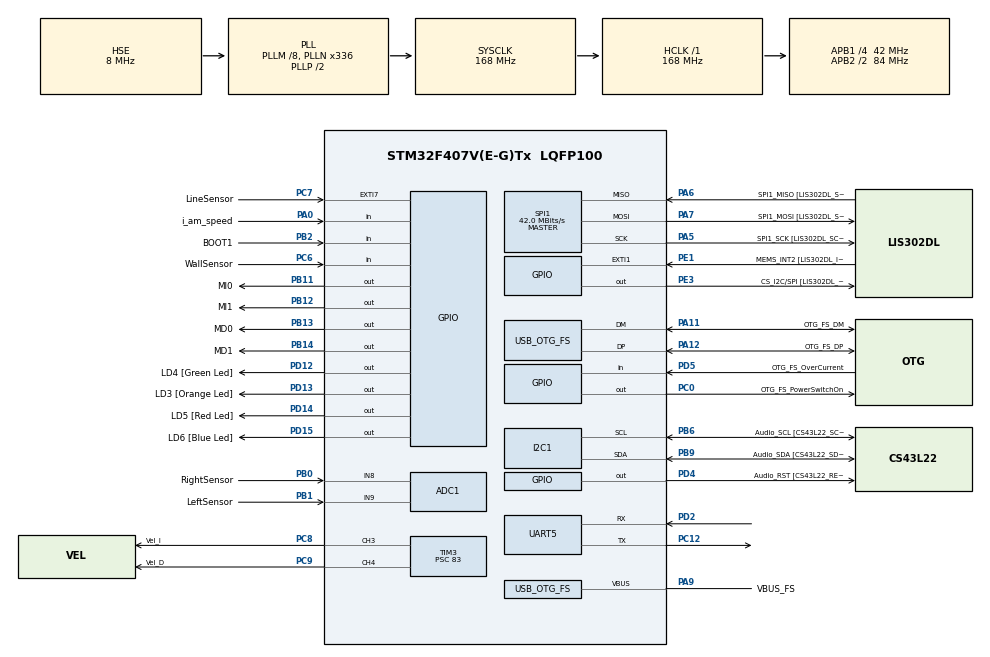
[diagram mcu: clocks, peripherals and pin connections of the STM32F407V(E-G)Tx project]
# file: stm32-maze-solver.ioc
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ADC1.Channel-0\#ChannelRegularConversion=ADC_CHANNEL_8
ADC1.Channel-1\#ChannelRegularConversion=ADC_CHANNEL_9
ADC1.ClockPrescaler=ADC_CLOCK_SYNC_PCLK_DIV8
ADC1.ContinuousConvMode=ENABLE
ADC1.DMAContinuousRequests=ENABLE
ADC1.EOCSelection=ADC_EOC_SEQ_CONV
ADC1.InjNumberOfConversion=0
ADC1.NbrOfConversion=2
ADC1.NbrOfConversionFlag=1
ADC1.Rank-0\#ChannelRegularConversion=1
ADC1.Rank-1\#ChannelRegularConversion=2
ADC1.SamplingTime-0\#ChannelRegularConversion=ADC_SAMPLETIME_112CYCLES
ADC1.SamplingTime-1\#ChannelRegularConversion=ADC_SAMPLETIME_112CYCLES
ADC1.ScanConvMode=ENABLE
ADC1.master=1
Dma.ADC1.0.Direction=DMA_PERIPH_TO_MEMORY
Dma.ADC1.0.FIFOMode=DMA_FIFOMODE_DISABLE
Dma.ADC1.0.Instance=DMA2_Stream0
Dma.ADC1.0.MemDataAlignment=DMA_MDATAALIGN_HALFWORD
Dma.ADC1.0.MemInc=DMA_MINC_ENABLE
Dma.ADC1.0.Mode=DMA_CIRCULAR
Dma.ADC1.0.PeriphDataAlignment=DMA_PDATAALIGN_HALFWORD
Dma.ADC1.0.PeriphInc=DMA_PINC_DISABLE
Dma.ADC1.0.Priority=DMA_PRIORITY_LOW
Dma.Request0=ADC1
Mcu.Family=STM32F4
Mcu.Name=STM32F407V(E-G)Tx
Mcu.Package=LQFP100
NVIC.DMA2_Stream0_IRQn=true\:0\:0\:false\:false\:true\:false\:true\:true
NVIC.EXTI9_5_IRQn=true\:0\:0\:false\:false\:true\:true\:true\:true
NVIC.OTG_FS_IRQn=true\:0\:0\:false\:false\:true\:true\:true\:true
NVIC.PriorityGroup=NVIC_PRIORITYGROUP_0
NVIC.UART5_IRQn=true\:0\:0\:false\:false\:true\:true\:true\:true
PA0-WKUP.GPIO_Label=i_am_speed
PA0-WKUP.GPIO_PuPd=GPIO_NOPULL
PA0-WKUP.Signal=GPIO_Input
PA10.GPIO_Label=OTG_FS_ID
PA10.GPIO_Mode=GPIO_MODE_AF_PP
PA10.GPIO_PuPd=GPIO_NOPULL
PA10.GPIO_Speed=GPIO_SPEED_FREQ_LOW
PA10.Signal=USB_OTG_FS_ID
PA11.GPIO_Label=OTG_FS_DM
PA11.GPIO_Mode=GPIO_MODE_AF_PP
PA11.GPIO_PuPd=GPIO_NOPULL
PA11.GPIO_Speed=GPIO_SPEED_FREQ_LOW
PA11.Mode=Host_Only
PA11.Signal=USB_OTG_FS_DM
PA12.GPIO_Label=OTG_FS_DP
PA12.GPIO_Mode=GPIO_MODE_AF_PP
PA12.GPIO_PuPd=GPIO_NOPULL
PA12.GPIO_Speed=GPIO_SPEED_FREQ_LOW
PA12.Mode=Host_Only
PA12.Signal=USB_OTG_FS_DP
PA13.GPIO_Label=SWDIO
PA13.Mode=Serial_Wire
PA13.Signal=SYS_JTMS-SWDIO
PA14.GPIO_Label=SWCLK
PA14.Mode=Serial_Wire
PA14.Signal=SYS_JTCK-SWCLK
PA4.GPIO_Label=I2S3_WS [CS43L22_LRCK]
PA4.GPIO_Mode=GPIO_MODE_AF_PP
PA4.GPIO_PuPd=GPIO_NOPULL
PA4.GPIO_Speed=GPIO_SPEED_FREQ_LOW
PA4.Signal=I2S3_WS
PA5.GPIO_Label=SPI1_SCK [LIS302DL_SCL/SPC]
PA5.GPIO_Mode=GPIO_MODE_AF_PP
PA5.GPIO_PuPd=GPIO_NOPULL
PA5.GPIO_Speed=GPIO_SPEED_FREQ_LOW
PA5.Mode=Full_Duplex_Master
PA5.Signal=SPI1_SCK
PA6.GPIO_Label=SPI1_MISO [LIS302DL_SDO]
PA6.GPIO_Mode=GPIO_MODE_AF_PP
PA6.GPIO_PuPd=GPIO_NOPULL
PA6.GPIO_Speed=GPIO_SPEED_FREQ_LOW
PA6.Mode=Full_Duplex_Master
PA6.Signal=SPI1_MISO
PA7.GPIO_Label=SPI1_MOSI [LIS302DL_SDA/SDI/SDO]
PA7.GPIO_Mode=GPIO_MODE_AF_PP
PA7.GPIO_PuPd=GPIO_NOPULL
PA7.GPIO_Speed=GPIO_SPEED_FREQ_LOW
PA7.Mode=Full_Duplex_Master
PA7.Signal=SPI1_MOSI
PA9.GPIO_Label=VBUS_FS
PA9.GPIO_Mode=GPIO_MODE_INPUT
PA9.GPIO_PuPd=GPIO_NOPULL
PA9.Mode=Activate_VBUS
PA9.Signal=USB_OTG_FS_VBUS
PB0.GPIO_Label=RightSensor
PB0.Signal=ADCx_IN8
PB1.GPIO_Label=LeftSensor
PB1.Signal=ADCx_IN9
PB10.GPIO_Label=CLK_IN [MP45DT02_CLK]
PB10.GPIO_Mode=GPIO_MODE_AF_PP
PB10.GPIO_PuPd=GPIO_NOPULL
PB10.GPIO_Speed=GPIO_SPEED_FREQ_LOW
PB10.Signal=I2S2_CK
PB11.GPIO_Label=MI0
PB11.Signal=GPIO_Output
PB12.GPIO_Label=MI1
PB12.Signal=GPIO_Output
PB13.GPIO_Label=MD0
PB13.Signal=GPIO_Output
PB14.GPIO_Label=MD1
PB14.Signal=GPIO_Output
PB2.GPIO_Label=BOOT1
PB2.GPIO_Mode=GPIO_MODE_INPUT
PB2.GPIO_PuPd=GPIO_NOPULL
PB2.Signal=GPIO_Input
PB3.GPIO_Label=SWO
PB3.Signal=SYS_JTDO-SWO
PB6.GPIO_Label=Audio_SCL [CS43L22_SCL]
PB6.GPIO_Mode=GPIO_MODE_AF_OD
PB6.GPIO_Pu=GPIO_PULLUP
PB6.GPIO_PuPd=GPIO_NOPULL
PB6.GPIO_Speed=GPIO_SPEED_FREQ_LOW
PB6.Mode=I2C
PB6.Signal=I2C1_SCL
PB9.GPIO_Label=Audio_SDA [CS43L22_SDA]
PB9.GPIO_Mode=GPIO_MODE_AF_OD
PB9.GPIO_Pu=GPIO_PULLUP
PB9.GPIO_PuPd=GPIO_NOPULL
PB9.GPIO_Speed=GPIO_SPEED_FREQ_LOW
PB9.Mode=I2C
PB9.Signal=I2C1_SDA
PC0.GPIO_Label=OTG_FS_PowerSwitchOn
PC0.GPIO_PuPd=GPIO_NOPULL
PC0.GPIO_Speed=GPIO_SPEED_FREQ_LOW
PC0.PinState=GPIO_PIN_SET
PC0.Signal=GPIO_Output
PC10.GPIO_Label=I2S3_SCK [CS43L22_SCLK]
PC10.GPIO_Mode=GPIO_MODE_AF_PP
PC10.GPIO_PuPd=GPIO_NOPULL
PC10.GPIO_Speed=GPIO_SPEED_FREQ_LOW
PC10.Signal=I2S3_CK
PC12.Mode=Asynchronous
PC12.Signal=UART5_TX
PC14-OSC32_IN.GPIO_Label=PC14-OSC32_IN
PC14-OSC32_IN.Mode=LSE-External-Oscillator
PC14-OSC32_IN.Signal=RCC_OSC32_IN
PC15-OSC32_OUT.GPIO_Label=PC15-OSC32_OUT
PC15-OSC32_OUT.Mode=LSE-External-Oscillator
PC15-OSC32_OUT.Signal=RCC_OSC32_OUT
PC3.GPIO_Label=PDM_OUT [MP45DT02_DOUT]
PC3.GPIO_Mode=GPIO_MODE_AF_PP
PC3.GPIO_PuPd=GPIO_NOPULL
PC3.GPIO_Speed=GPIO_SPEED_FREQ_LOW
PC3.Signal=I2S2_SD
PC6.GPIO_Label=WallSensor
PC6.Signal=GPIO_Input
PC7.GPIO_Label=LineSensor
PC7.GPIO_ModeDefaultEXTI=GPIO_MODE_IT_FALLING
PC7.Signal=GPXTI7
PC8.GPIO_Label=Vel_I
PC8.Signal=S_TIM3_CH3
PC9.GPIO_Label=Vel_D
PC9.Signal=S_TIM3_CH4
PD12.GPIO_Label=LD4 [Green Led]
PD12.GPIO_PuPd=GPIO_NOPULL
PD12.GPIO_Speed=GPIO_SPEED_FREQ_LOW
PD12.Signal=GPIO_Output
PD13.GPIO_Label=LD3 [Orange Led]
PD13.GPIO_PuPd=GPIO_NOPULL
PD13.GPIO_Speed=GPIO_SPEED_FREQ_LOW
PD13.Signal=GPIO_Output
PD14.GPIO_Label=LD5 [Red Led]
PD14.GPIO_PuPd=GPIO_NOPULL
PD14.GPIO_Speed=GPIO_SPEED_FREQ_LOW
PD14.Signal=GPIO_Output
PD15.GPIO_Label=LD6 [Blue Led]
PD15.GPIO_PuPd=GPIO_NOPULL
PD15.GPIO_Speed=GPIO_SPEED_FREQ_LOW
PD15.Signal=GPIO_Output
PD2.Mode=Asynchronous
PD2.Signal=UART5_RX
PD4.GPIO_Label=Audio_RST [CS43L22_RESET]
PD4.GPIO_PuPd=GPIO_NOPULL
PD4.GPIO_Speed=GPIO_SPEED_FREQ_LOW
PD4.Signal=GPIO_Output
PD5.GPIO_Label=OTG_FS_OverCurrent
PD5.GPIO_Mode=GPIO_MODE_INPUT
PD5.GPIO_PuPd=GPIO_NOPULL
PD5.Signal=GPIO_Input
PE1.GPIO_Label=MEMS_INT2 [LIS302DL_INT2]
PE1.GPIO_ModeDefaultEXTI=GPIO_MODE_EVT_RISING
PE1.GPIO_PuPd=GPIO_NOPULL
PE1.Signal=GPXTI1
PE3.GPIO_Label=CS_I2C/SPI [LIS302DL_CS_I2C/SPI]
PE3.GPIO_PuPd=GPIO_NOPULL
PE3.GPIO_Speed=GPIO_SPEED_FREQ_LOW
PE3.Signal=GPIO_Output
PH0-OSC_IN.GPIO_Label=PH0-OSC_IN
PH0-OSC_IN.Mode=HSE-External-Oscillator
PH0-OSC_IN.Signal=RCC_OSC_IN
PH1-OSC_OUT.GPIO_Label=PH1-OSC_OUT
PH1-OSC_OUT.Mode=HSE-External-Oscillator
PH1-OSC_OUT.Signal=RCC_OSC_OUT
ProjectManager.HeapSize=0x200
ProjectManager.StackSize=0x400
ProjectManager.TargetToolchain=STM32CubeIDE
RCC.48MHZClocksFreq_Value=48000000
RCC.AHBFreq_Value=168000000
RCC.APB1CLKDivider=RCC_HCLK_DIV4
RCC.APB1Freq_Value=42000000
RCC.APB1TimFreq_Value=84000000
RCC.APB2CLKDivider=RCC_HCLK_DIV2
RCC.APB2Freq_Value=84000000
RCC.APB2TimFreq_Value=168000000
RCC.CortexFreq_Value=168000000
RCC.HCLKFreq_Value=168000000
RCC.HSE_VALUE=8000000
RCC.HSI_VALUE=16000000
RCC.PLLM=8
RCC.PLLN=336
RCC.PLLQ=7
RCC.SYSCLKFreq_VALUE=168000000
RCC.SYSCLKSource=RCC_SYSCLKSOURCE_PLLCLK
RCC.VCOOutputFreq_Value=336000000
SH.ADCx_IN8.0=ADC1_IN8,IN8
SH.ADCx_IN9.0=ADC1_IN9,IN9
SH.S_TIM3_CH3.0=TIM3_CH3,PWM Generation3 CH3
SH.S_TIM3_CH4.0=TIM3_CH4,PWM Generation4 CH4
SPI1.BaudRatePrescaler-Full_Duplex_Master=SPI_BAUDRATEPRESCALER_2
SPI1.CalculateBaudRate=42.0 MBits/s
SPI1.CalculateBaudRate-Full_Duplex_Master=42.0 MBits/s
SPI1.Direction=SPI_DIRECTION_2LINES
SPI1.Mode=SPI_MODE_MASTER
SPI1.Mode-Full_Duplex_Master=SPI_MODE_MASTER
SPI1.VirtualType=VM_MASTER
TIM3.Channel-PWM\ Generation3\ CH3=TIM_CHANNEL_3
TIM3.Channel-PWM\ Generation4\ CH4=TIM_CHANNEL_4
TIM3.Period=999
TIM3.Prescaler=83
UART5.VirtualMode=Asynchronous
USB_HOST.BSP.number=1
USB_HOST.USBH_HandleTypeDef-CDC_FS=hUsbHostFS
USB_HOST.VirtualModeFS=Cdc
USB_HOST0.BSP.STBoard=false
USB_HOST0.BSP.api=Unknown
USB_HOST0.BSP.instance=PC0
USB_HOST0.BSP.ip=GPIO
USB_HOST0.BSP.mode=Output
USB_HOST0.BSP.name=Drive_VBUS_FS
USB_HOST0.BSP.solution=PC0
USB_OTG_FS.VirtualMode=Host_Only
USB_OTG_FS.phy_itface=HCD_PHY_EMBEDDED
VP_TIM3_VS_ClockSourceINT.Mode=Internal
VP_USB_HOST_VS_USB_HOST_CDC_FS.Mode=CDC_FS
board=STM32F407G-DISC1

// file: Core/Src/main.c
/* USER CODE BEGIN Header */
/**
 ******************************************************************************
 * @file           : main.c
 * @brief          : Main program body
 * @author demianmozo
 * @date 2025-06-07
 * Este archivo contiene la función main y la lógica principal del robot.
 *
 * @section hardware Hardware utilizado
 * - STM32F407VG Discovery Board
 * - Sensores IR para detección de líneas y muros
 * - Motores DC con control PWM
 * - Comunicación UART
 ******************************************************************************
 * @attention
 *
 * Copyright (c) 2025 STMicroelectronics.
 * All rights reserved.
 *
 * This software is licensed under terms that can be found in the LICENSE file
 * in the root directory of this software component.
 * If no LICENSE file comes with this software, it is provided AS-IS.
 *
 ******************************************************************************
 */
/* USER CODE END Header */
#include "main.h"
#include "usb_host.h"

/* USER CODE BEGIN Includes */
#include "antirebote.h"         ///< Funciones de antirebote para sensores
#include "control_motor.h"      ///< Control de motores y PWM
#include "laberinto.h"          ///< Representación y manejo del laberinto
#include "navegacion.h"         ///< Algoritmos de navegación Flood Fill
#include "control_linearecta.h" ///< Control PID para línea recta
#include <stdint.h>             ///< Tipos de datos enteros estándar
#include <stdbool.h>            ///< Tipo de dato booleano
#include "uart.h"               ///< Comunicación UART para debugging
#include <string.h>             ///< Funciones de manipulación de strings
#include <stdio.h>              ///< Funciones de entrada/salida estándar
/* USER CODE END Includes */

ADC_HandleTypeDef hadc1;
DMA_HandleTypeDef hdma_adc1;

I2C_HandleTypeDef hi2c1;

SPI_HandleTypeDef hspi1;

TIM_HandleTypeDef htim3;

UART_HandleTypeDef huart5;

/* USER CODE BEGIN PV */
/** @defgroup Main_Variables Variables globales principales
 * @brief Variables globales utilizadas en el programa principal
 * @{
 */

/** @brief Posición actual del robot */
uint8_t fila_actual = 4, columna_actual = 4; ///< Fila y columna inicial  del robot (4;4)

/** @brief Estado y orientación del robot */
brujula sentido_actual = norte; ///< Orientación inicial del robot
bool terminado = false;         ///< Flag que indica si el robot llegó a la meta

/** @brief Control de timing y velocidad */
uint16_t TIEMPO_AVANCE_LINEA = 250; ///< Tiempo de avance entre líneas (ms) - Exploración
bool modo_sprint = false;           ///< Flag para modo de alta velocidad

/** @brief Buffer para ADC con DMA */
uint16_t dma_buffer[BUFFER_TOTAL]; ///< Buffer para lecturas ADC de sensores IR

/** @brief Variables para control de interrupciones */
volatile bool ultimo_estado_linea = true; ///< Último estado del sensor de línea (HIGH = no detectando)
volatile bool ultimo_estado_muro = true;  ///< Último estado del sensor de muro (HIGH = no detectando)

/** @brief Flags de interrupciones */
volatile bool flag_linea_detectada = false; ///< Flag activado por ISR al detectar línea
volatile bool flag_muro_detectado = false;  ///< Flag activado por ISR al detectar muro

/**
 * @}
 */
/* USER CODE END PV */

void SystemClock_Config(void);
static void MX_GPIO_Init(void);
static void MX_DMA_Init(void);
static void MX_I2C1_Init(void);
static void MX_SPI1_Init(void);
static void MX_ADC1_Init(void);
static void MX_TIM3_Init(void);
static void MX_UART5_Init(void);
void MX_USB_HOST_Process(void);

/* USER CODE BEGIN PFP */

/** @defgroup Main_Functions Prototipos de funciones principales
 * @brief Declaraciones de funciones implementadas en este archivo
 * @{
 */

/**
 * @brief Procesa la detección de una línea
 * @details Actualiza posición, verifica meta, calcula nueva dirección y ejecuta movimiento
 */
void chequeolinea(void);

/**
 * @brief Procesa la detección de un muro
 * @details Registra el muro, recalcula pesos y ejecuta nuevo movimiento
 */
void chequeomuro(void);

/**
 * @brief Maneja el botón para modo sprint
 * @details Reinicia posición y activa modo de alta velocidad
 */
void reset_posicion_pushbutton(void);

/**
 * @brief Realiza auto-calibración inicial de sensores
 * @details Calibra los valores mínimos y máximos de los sensores IR
 */
void auto_calibracion(void);

/**
 * @brief Promedia las lecturas de los sensores IR
 * @param buffer Buffer con las lecturas DMA del ADC
 */
void promediar_sensores(uint16_t *buffer);

/**
 * @brief Controla el seguimiento de línea recta
 * @details Mantiene el robot centrado
 */
void controlar_linea_recta(void);

/**
 * @brief Aplica corrección hacia la izquierda
 */
void correccion_izquierda(void);

/**
 * @brief Aplica corrección hacia la derecha
 */
void correccion_derecha(void);

/**
 * @}
 */
/* USER CODE END PFP */

/**
 * @brief  Punto de entrada principal de la aplicación
 * @details Inicializa todos los periféricos, calibra sensores e inicia
 *          el bucle principal de navegación del laberinto
 * @retval Código de retorno (nunca debería retornar en funcionamiento normal)
 */
int main(void)
{

  /* MCU Configuration--------------------------------------------------------*/

  /* Reset of all peripherals, Initializes the Flash interface and the Systick. */
  HAL_Init();

  /* Configure the system clock */
  SystemClock_Config();

  /* Initialize all configured peripherals */
  MX_GPIO_Init();
  MX_DMA_Init();
  MX_I2C1_Init();
  MX_SPI1_Init();
  MX_USB_HOST_Init();
  MX_ADC1_Init();
  MX_TIM3_Init();
  MX_UART5_Init();
  /* USER CODE BEGIN 2 */
  // Inicializar ADC con DMA primero
  HAL_ADC_Start_DMA(&hadc1, (uint32_t *)dma_buffer, BUFFER_TOTAL);

  // Auto-calibración (sin motores activos)
  auto_calibracion();

  // Inicializar módulos
  control_motor_init();
  laberinto_init();
  Inicializar_UART();
  /* USER CODE END 2 */

  /* Infinite loop */
  /* USER CODE BEGIN WHILE */
  /**
   * @brief Bucle principal del programa
   * @details Implementa la máquina de estados principal:
   * - Control de línea recta
   * - Procesamiento de interrupciones (línea > muro)
   * - Verificación de botón de sprint
   * - Verificación de estado terminado
   */
  while (1)
  {
    /* USER CODE END WHILE */
    MX_USB_HOST_Process();

    /* USER CODE BEGIN 3 */
    if (!terminado)
    {
      controlar_linea_recta();
      // PROCESAR FLAGS CON PRIORIDAD: LÍNEA > MURO
      if (flag_linea_detectada)
      {
        flag_linea_detectada = false;                            // Clear flag PRIMERO
        chequeolinea();
      }
      if (GPIO_PIN_RESET == HAL_GPIO_ReadPin(WallSensor_GPIO_Port, WallSensor_Pin))
      {
        HAL_Delay(20);
        if (HAL_GPIO_ReadPin(WallSensor_GPIO_Port, WallSensor_Pin) == GPIO_PIN_RESET)
        {
          chequeomuro();
        }
      }
    }
    else
    {
      termino(); // Robot detenido en meta
    }
    reset_posicion_pushbutton(); // ⚡ I AM SPEED button */
    /* USER CODE END 3 */
  }
}

void SystemClock_Config(void)
{
  RCC_OscInitTypeDef RCC_OscInitStruct = {0};
  RCC_ClkInitTypeDef RCC_ClkInitStruct = {0};

  /** Configure the main internal regulator output voltage
   */
  __HAL_RCC_PWR_CLK_ENABLE();
  __HAL_PWR_VOLTAGESCALING_CONFIG(PWR_REGULATOR_VOLTAGE_SCALE1);

  /** Initializes the RCC Oscillators according to the specified parameters
   * in the RCC_OscInitTypeDef structure.
   */
  RCC_OscInitStruct.OscillatorType = RCC_OSCILLATORTYPE_HSE;
  RCC_OscInitStruct.HSEState = RCC_HSE_ON;
  RCC_OscInitStruct.PLL.PLLState = RCC_PLL_ON;
  RCC_OscInitStruct.PLL.PLLSource = RCC_PLLSOURCE_HSE;
  RCC_OscInitStruct.PLL.PLLM = 8;
  RCC_OscInitStruct.PLL.PLLN = 336;
  RCC_OscInitStruct.PLL.PLLP = RCC_PLLP_DIV2;
  RCC_OscInitStruct.PLL.PLLQ = 7;
  if (HAL_RCC_OscConfig(&RCC_OscInitStruct) != HAL_OK)
  {
    Error_Handler();
  }

  /** Initializes the CPU, AHB and APB buses clocks
   */
  RCC_ClkInitStruct.ClockType = RCC_CLOCKTYPE_HCLK | RCC_CLOCKTYPE_SYSCLK | RCC_CLOCKTYPE_PCLK1 | RCC_CLOCKTYPE_PCLK2;
  RCC_ClkInitStruct.SYSCLKSource = RCC_SYSCLKSOURCE_PLLCLK;
  RCC_ClkInitStruct.AHBCLKDivider = RCC_SYSCLK_DIV1;
  RCC_ClkInitStruct.APB1CLKDivider = RCC_HCLK_DIV4;
  RCC_ClkInitStruct.APB2CLKDivider = RCC_HCLK_DIV2;

  if (HAL_RCC_ClockConfig(&RCC_ClkInitStruct, FLASH_LATENCY_5) != HAL_OK)
  {
    Error_Handler();
  }
}

static void MX_ADC1_Init(void)
{

  ADC_ChannelConfTypeDef sConfig = {0};

  /** Configure the global features of the ADC (Clock, Resolution, Data Alignment and number of conversion)
   */
  hadc1.Instance = ADC1;
  hadc1.Init.ClockPrescaler = ADC_CLOCK_SYNC_PCLK_DIV8;
  hadc1.Init.Resolution = ADC_RESOLUTION_12B;
  hadc1.Init.ScanConvMode = ENABLE;
  hadc1.Init.ContinuousConvMode = ENABLE;
  hadc1.Init.DiscontinuousConvMode = DISABLE;
  hadc1.Init.ExternalTrigConvEdge = ADC_EXTERNALTRIGCONVEDGE_NONE;
  hadc1.Init.ExternalTrigConv = ADC_SOFTWARE_START;
  hadc1.Init.DataAlign = ADC_DATAALIGN_RIGHT;
  hadc1.Init.NbrOfConversion = 2;
  hadc1.Init.DMAContinuousRequests = ENABLE;
  hadc1.Init.EOCSelection = ADC_EOC_SEQ_CONV;
  if (HAL_ADC_Init(&hadc1) != HAL_OK)
  {
    Error_Handler();
  }

  /** Configure for the selected ADC regular channel its corresponding rank in the sequencer and its sample time.
   */
  sConfig.Channel = ADC_CHANNEL_8;
  sConfig.Rank = 1;
  sConfig.SamplingTime = ADC_SAMPLETIME_112CYCLES;
  if (HAL_ADC_ConfigChannel(&hadc1, &sConfig) != HAL_OK)
  {
    Error_Handler();
  }

  /** Configure for the selected ADC regular channel its corresponding rank in the sequencer and its sample time.
   */
  sConfig.Channel = ADC_CHANNEL_9;
  sConfig.Rank = 2;
  if (HAL_ADC_ConfigChannel(&hadc1, &sConfig) != HAL_OK)
  {
    Error_Handler();
  }
}

static void MX_I2C1_Init(void)
{

  hi2c1.Instance = I2C1;
  hi2c1.Init.ClockSpeed = 100000;
  hi2c1.Init.DutyCycle = I2C_DUTYCYCLE_2;
  hi2c1.Init.OwnAddress1 = 0;
  hi2c1.Init.AddressingMode = I2C_ADDRESSINGMODE_7BIT;
  hi2c1.Init.DualAddressMode = I2C_DUALADDRESS_DISABLE;
  hi2c1.Init.OwnAddress2 = 0;
  hi2c1.Init.GeneralCallMode = I2C_GENERALCALL_DISABLE;
  hi2c1.Init.NoStretchMode = I2C_NOSTRETCH_DISABLE;
  if (HAL_I2C_Init(&hi2c1) != HAL_OK)
  {
    Error_Handler();
  }
}

static void MX_SPI1_Init(void)
{

  /* SPI1 parameter configuration*/
  hspi1.Instance = SPI1;
  hspi1.Init.Mode = SPI_MODE_MASTER;
  hspi1.Init.Direction = SPI_DIRECTION_2LINES;
  hspi1.Init.DataSize = SPI_DATASIZE_8BIT;
  hspi1.Init.CLKPolarity = SPI_POLARITY_LOW;
  hspi1.Init.CLKPhase = SPI_PHASE_1EDGE;
  hspi1.Init.NSS = SPI_NSS_SOFT;
  hspi1.Init.BaudRatePrescaler = SPI_BAUDRATEPRESCALER_2;
  hspi1.Init.FirstBit = SPI_FIRSTBIT_MSB;
  hspi1.Init.TIMode = SPI_TIMODE_DISABLE;
  hspi1.Init.CRCCalculation = SPI_CRCCALCULATION_DISABLE;
  hspi1.Init.CRCPolynomial = 10;
  if (HAL_SPI_Init(&hspi1) != HAL_OK)
  {
    Error_Handler();
  }
}

static void MX_TIM3_Init(void)
{

  TIM_ClockConfigTypeDef sClockSourceConfig = {0};
  TIM_MasterConfigTypeDef sMasterConfig = {0};
  TIM_OC_InitTypeDef sConfigOC = {0};

  htim3.Instance = TIM3;
  htim3.Init.Prescaler = 83;
  htim3.Init.CounterMode = TIM_COUNTERMODE_UP;
  htim3.Init.Period = 999;
  htim3.Init.ClockDivision = TIM_CLOCKDIVISION_DIV1;
  htim3.Init.AutoReloadPreload = TIM_AUTORELOAD_PRELOAD_DISABLE;
  if (HAL_TIM_Base_Init(&htim3) != HAL_OK)
  {
    Error_Handler();
  }
  sClockSourceConfig.ClockSource = TIM_CLOCKSOURCE_INTERNAL;
  if (HAL_TIM_ConfigClockSource(&htim3, &sClockSourceConfig) != HAL_OK)
  {
    Error_Handler();
  }
  if (HAL_TIM_PWM_Init(&htim3) != HAL_OK)
  {
    Error_Handler();
  }
  sMasterConfig.MasterOutputTrigger = TIM_TRGO_RESET;
  sMasterConfig.MasterSlaveMode = TIM_MASTERSLAVEMODE_DISABLE;
  if (HAL_TIMEx_MasterConfigSynchronization(&htim3, &sMasterConfig) != HAL_OK)
  {
    Error_Handler();
  }
  sConfigOC.OCMode = TIM_OCMODE_PWM1;
  sConfigOC.Pulse = 0;
  sConfigOC.OCPolarity = TIM_OCPOLARITY_HIGH;
  sConfigOC.OCFastMode = TIM_OCFAST_DISABLE;
  if (HAL_TIM_PWM_ConfigChannel(&htim3, &sConfigOC, TIM_CHANNEL_3) != HAL_OK)
  {
    Error_Handler();
  }
  if (HAL_TIM_PWM_ConfigChannel(&htim3, &sConfigOC, TIM_CHANNEL_4) != HAL_OK)
  {
    Error_Handler();
  }
  HAL_TIM_MspPostInit(&htim3);
}

static void MX_UART5_Init(void)
{

  huart5.Instance = UART5;
  huart5.Init.BaudRate = 115200;
  huart5.Init.WordLength = UART_WORDLENGTH_8B;
  huart5.Init.StopBits = UART_STOPBITS_1;
  huart5.Init.Parity = UART_PARITY_NONE;
  huart5.Init.Mode = UART_MODE_TX_RX;
  huart5.Init.HwFlowCtl = UART_HWCONTROL_NONE;
  huart5.Init.OverSampling = UART_OVERSAMPLING_16;
  if (HAL_UART_Init(&huart5) != HAL_OK)
  {
    Error_Handler();
  }
}

static void MX_DMA_Init(void)
{

  /* DMA controller clock enable */
  __HAL_RCC_DMA2_CLK_ENABLE();

  /* DMA interrupt init */
  /* DMA2_Stream0_IRQn interrupt configuration */
  HAL_NVIC_SetPriority(DMA2_Stream0_IRQn, 0, 0);
  HAL_NVIC_EnableIRQ(DMA2_Stream0_IRQn);
}

static void MX_GPIO_Init(void)
{
  GPIO_InitTypeDef GPIO_InitStruct = {0};

  /* GPIO Ports Clock Enable */
  __HAL_RCC_GPIOE_CLK_ENABLE();
  __HAL_RCC_GPIOC_CLK_ENABLE();
  __HAL_RCC_GPIOH_CLK_ENABLE();
  __HAL_RCC_GPIOA_CLK_ENABLE();
  __HAL_RCC_GPIOB_CLK_ENABLE();
  __HAL_RCC_GPIOD_CLK_ENABLE();

  /*Configure GPIO pin Output Level */
  HAL_GPIO_WritePin(CS_I2C_SPI_GPIO_Port, CS_I2C_SPI_Pin, GPIO_PIN_RESET);

  /*Configure GPIO pin Output Level */
  HAL_GPIO_WritePin(OTG_FS_PowerSwitchOn_GPIO_Port, OTG_FS_PowerSwitchOn_Pin, GPIO_PIN_SET);

  /*Configure GPIO pin Output Level */
  HAL_GPIO_WritePin(GPIOB, MI0_Pin | MI1_Pin | MD0_Pin | MD1_Pin, GPIO_PIN_RESET);

  /*Configure GPIO pin Output Level */
  HAL_GPIO_WritePin(GPIOD, LD4_Pin | LD3_Pin | LD5_Pin | LD6_Pin | Audio_RST_Pin, GPIO_PIN_RESET);

  /*Configure GPIO pin : CS_I2C_SPI_Pin */
  GPIO_InitStruct.Pin = CS_I2C_SPI_Pin;
  GPIO_InitStruct.Mode = GPIO_MODE_OUTPUT_PP;
  GPIO_InitStruct.Pull = GPIO_NOPULL;
  GPIO_InitStruct.Speed = GPIO_SPEED_FREQ_LOW;
  HAL_GPIO_Init(CS_I2C_SPI_GPIO_Port, &GPIO_InitStruct);

  /*Configure GPIO pin : OTG_FS_PowerSwitchOn_Pin */
  GPIO_InitStruct.Pin = OTG_FS_PowerSwitchOn_Pin;
  GPIO_InitStruct.Mode = GPIO_MODE_OUTPUT_PP;
  GPIO_InitStruct.Pull = GPIO_NOPULL;
  GPIO_InitStruct.Speed = GPIO_SPEED_FREQ_LOW;
  HAL_GPIO_Init(OTG_FS_PowerSwitchOn_GPIO_Port, &GPIO_InitStruct);

  /*Configure GPIO pin : PDM_OUT_Pin */
  GPIO_InitStruct.Pin = PDM_OUT_Pin;
  GPIO_InitStruct.Mode = GPIO_MODE_AF_PP;
  GPIO_InitStruct.Pull = GPIO_NOPULL;
  GPIO_InitStruct.Speed = GPIO_SPEED_FREQ_LOW;
  GPIO_InitStruct.Alternate = GPIO_AF5_SPI2;
  HAL_GPIO_Init(PDM_OUT_GPIO_Port, &GPIO_InitStruct);

  /*Configure GPIO pin : i_am_speed_Pin */
  GPIO_InitStruct.Pin = i_am_speed_Pin;
  GPIO_InitStruct.Mode = GPIO_MODE_INPUT;
  GPIO_InitStruct.Pull = GPIO_NOPULL;
  HAL_GPIO_Init(i_am_speed_GPIO_Port, &GPIO_InitStruct);

  /*Configure GPIO pin : I2S3_WS_Pin */
  GPIO_InitStruct.Pin = I2S3_WS_Pin;
  GPIO_InitStruct.Mode = GPIO_MODE_AF_PP;
  GPIO_InitStruct.Pull = GPIO_NOPULL;
  GPIO_InitStruct.Speed = GPIO_SPEED_FREQ_LOW;
  GPIO_InitStruct.Alternate = GPIO_AF6_SPI3;
  HAL_GPIO_Init(I2S3_WS_GPIO_Port, &GPIO_InitStruct);

  /*Configure GPIO pin : BOOT1_Pin */
  GPIO_InitStruct.Pin = BOOT1_Pin;
  GPIO_InitStruct.Mode = GPIO_MODE_INPUT;
  GPIO_InitStruct.Pull = GPIO_NOPULL;
  HAL_GPIO_Init(BOOT1_GPIO_Port, &GPIO_InitStruct);

  /*Configure GPIO pin : CLK_IN_Pin */
  GPIO_InitStruct.Pin = CLK_IN_Pin;
  GPIO_InitStruct.Mode = GPIO_MODE_AF_PP;
  GPIO_InitStruct.Pull = GPIO_NOPULL;
  GPIO_InitStruct.Speed = GPIO_SPEED_FREQ_LOW;
  GPIO_InitStruct.Alternate = GPIO_AF5_SPI2;
  HAL_GPIO_Init(CLK_IN_GPIO_Port, &GPIO_InitStruct);

  /*Configure GPIO pins : MI0_Pin MI1_Pin MD0_Pin MD1_Pin */
  GPIO_InitStruct.Pin = MI0_Pin | MI1_Pin | MD0_Pin | MD1_Pin;
  GPIO_InitStruct.Mode = GPIO_MODE_OUTPUT_PP;
  GPIO_InitStruct.Pull = GPIO_NOPULL;
  GPIO_InitStruct.Speed = GPIO_SPEED_FREQ_LOW;
  HAL_GPIO_Init(GPIOB, &GPIO_InitStruct);

  /*Configure GPIO pins : LD4_Pin LD3_Pin LD5_Pin LD6_Pin
                           Audio_RST_Pin */
  GPIO_InitStruct.Pin = LD4_Pin | LD3_Pin | LD5_Pin | LD6_Pin | Audio_RST_Pin;
  GPIO_InitStruct.Mode = GPIO_MODE_OUTPUT_PP;
  GPIO_InitStruct.Pull = GPIO_NOPULL;
  GPIO_InitStruct.Speed = GPIO_SPEED_FREQ_LOW;
  HAL_GPIO_Init(GPIOD, &GPIO_InitStruct);

  /*Configure GPIO pin : WallSensor_Pin */
  GPIO_InitStruct.Pin = WallSensor_Pin;
  GPIO_InitStruct.Mode = GPIO_MODE_INPUT;
  GPIO_InitStruct.Pull = GPIO_NOPULL;
  HAL_GPIO_Init(WallSensor_GPIO_Port, &GPIO_InitStruct);

  /*Configure GPIO pin : LineSensor_Pin */
  GPIO_InitStruct.Pin = LineSensor_Pin;
  GPIO_InitStruct.Mode = GPIO_MODE_IT_FALLING;
  GPIO_InitStruct.Pull = GPIO_NOPULL;
  HAL_GPIO_Init(LineSensor_GPIO_Port, &GPIO_InitStruct);

  /*Configure GPIO pin : I2S3_SCK_Pin */
  GPIO_InitStruct.Pin = I2S3_SCK_Pin;
  GPIO_InitStruct.Mode = GPIO_MODE_AF_PP;
  GPIO_InitStruct.Pull = GPIO_NOPULL;
  GPIO_InitStruct.Speed = GPIO_SPEED_FREQ_LOW;
  GPIO_InitStruct.Alternate = GPIO_AF6_SPI3;
  HAL_GPIO_Init(I2S3_SCK_GPIO_Port, &GPIO_InitStruct);

  /*Configure GPIO pin : OTG_FS_OverCurrent_Pin */
  GPIO_InitStruct.Pin = OTG_FS_OverCurrent_Pin;
  GPIO_InitStruct.Mode = GPIO_MODE_INPUT;
  GPIO_InitStruct.Pull = GPIO_NOPULL;
  HAL_GPIO_Init(OTG_FS_OverCurrent_GPIO_Port, &GPIO_InitStruct);

  /*Configure GPIO pin : MEMS_INT2_Pin */
  GPIO_InitStruct.Pin = MEMS_INT2_Pin;
  GPIO_InitStruct.Mode = GPIO_MODE_EVT_RISING;
  GPIO_InitStruct.Pull = GPIO_NOPULL;
  HAL_GPIO_Init(MEMS_INT2_GPIO_Port, &GPIO_InitStruct);

  /* EXTI interrupt init*/
  HAL_NVIC_SetPriority(EXTI9_5_IRQn, 0, 0);
  HAL_NVIC_EnableIRQ(EXTI9_5_IRQn);

  /* USER CODE BEGIN MX_GPIO_Init_2 */

  HAL_NVIC_SetPriority(EXTI9_5_IRQn, 1, 0); // Prioridad alta para ambos sensores
  HAL_NVIC_EnableIRQ(EXTI9_5_IRQn);

  /* USER CODE END MX_GPIO_Init_2 */
}

/* USER CODE BEGIN 4 */
/**
 * @brief Actualiza la posición del robot en el laberinto
 * @details Modifica las coordenadas del robot según la dirección de movimiento
 * @param fila Puntero a la fila actual (se modifica)
 * @param columna Puntero a la columna actual (se modifica)
 * @param sentido Orientación actual del robot
 *
 * @note Las coordenadas van de 1 a 4 para un laberinto 4x4
 */
void actualizar_posicion(uint8_t *fila, uint8_t *columna, brujula sentido)
{
  switch (sentido)
  {
  case norte:
    (*fila)--;
    break;
  case este:
    (*columna)++;
    break;
  case sur:
    (*fila)++;
    break;
  case oeste:
    (*columna)--;
    break;
  }
}

/**
 * @brief Procesa la detección de una línea del laberinto
 * @details Secuencia completa de procesamiento al cruzar una línea:
 * 1. Desactiva interrupciones temporalmente
 * 2. Avanza el tiempo necesario para posicionarse
 * 3. Actualiza la posición del robot
 * 4. Verifica si llegó a la meta (1,1)
 * 5. Calcula la mejor dirección usando Flood Fill
 * 6. Ejecuta el movimiento necesario
 * 7. Reactiva interrupciones
 *
 * @note Usa TIEMPO_AVANCE_LINEA que varía según el modo (exploración/sprint)
 */
void chequeolinea(void)
{
  HAL_NVIC_DisableIRQ(EXTI9_5_IRQn);
  HAL_Delay(TIEMPO_AVANCE_LINEA); // por si es sprint o no

  // Actualizar posición
  actualizar_posicion(&fila_actual, &columna_actual, sentido_actual);

  sprintf(mensaje, "%d,%d", fila_actual, columna_actual);
  Transmision();

  // terminó?
  if (fila_actual == 1 && columna_actual == 1)
  {
    termino();
    terminado = true;
    strcpy(mensaje, "Finalizado");
    Transmision();
    return;
  }

  // Calcular y ejecutar
  brujula sentido_deseado = calcular_mejor_direccion(fila_actual, columna_actual); // funcion definida en navegacion.h
  sentido_actual = ejecutar_movimiento(sentido_actual, sentido_deseado);           // funcion definida en navegacion.h
  avanza();

  HAL_NVIC_EnableIRQ(EXTI9_5_IRQn);
  HAL_GPIO_WritePin(LD4_GPIO_Port, LD4_Pin, GPIO_PIN_RESET);
}

/**
 * @brief Procesa la detección de un muro
 * @details Secuencia de procesamiento al detectar un obstáculo:
 * 1. Desactiva interrupciones
 * 2. Registra el muro en el mapa del laberinto
 * 3. Recalcula todos los pesos usando Flood Fill
 * 4. Calcula nueva mejor dirección
 * 5. Ejecuta el movimiento alternativo
 * 6. Reactiva interrupciones
 *
 * @note El algoritmo Flood Fill se ejecuta completamente tras cada muro detectado
 */
void chequeomuro(void)
{
  HAL_NVIC_DisableIRQ(EXTI9_5_IRQn);

  // 1. Registrar el muro detectado
  laberinto_set_muro(fila_actual, columna_actual, sentido_actual);

  // 2. Recalcular todos los pesos con el nuevo muro
  laberinto_recalcular_pesos();

  // 3. Calcular nueva mejor dirección
  brujula sentido_deseado = calcular_mejor_direccion(fila_actual, columna_actual);

  // 4. Ejecutar movimiento LO QUE HIZO EL COLO YA ACTUALIZA EL SENTIDO ACTUAL SOLO
  sentido_actual = ejecutar_movimiento(sentido_actual, sentido_deseado);
  avanza();

  HAL_NVIC_EnableIRQ(EXTI9_5_IRQn);
  HAL_GPIO_WritePin(LD6_GPIO_Port, LD6_Pin, GPIO_PIN_RESET);
}

/**
 * @brief Maneja el botón para activar modo sprint
 * @details Al presionar el botón "I AM SPEED":
 * 1. Reinicia la posición a (4,4) orientación norte
 * 2. Activa el modo sprint (mayor velocidad)
 * 3. Reduce el tiempo de avance entre líneas
 * 4. Resetea flags y estados de sensores
 * 5. Inicia el movimiento inmediatamente
 *
 * @note El robot mantiene el conocimiento del laberinto de la primera ejecución
 */
void reset_posicion_pushbutton(void)
{
  if (antirebote(i_am_speed_GPIO_Port, i_am_speed_Pin))
  {
    HAL_NVIC_DisableIRQ(EXTI9_5_IRQn);

    // Resetear posición
    fila_actual = 4;
    columna_actual = 4;
    sentido_actual = norte;
    terminado = false;

    // ⚡ I AM SPEED!
    activar_modo_sprint();     // Esta función está en control_motor.c
    TIEMPO_AVANCE_LINEA = 400; // Reducir tiempo de avance a 400 ms

    flag_linea_detectada = false;
    flag_muro_detectado = false;

    // Resetear estados de sensores
    ultimo_estado_linea = true;
    ultimo_estado_muro = true;

    avanza();
    // Reactivar interrupciones
    HAL_NVIC_EnableIRQ(EXTI9_5_IRQn);
  }
}

/**
 * @brief Rutina de atencion a la interrupción para sensores
 * @details ISR para interrupciones externas EXTI9_5. Implementa antirebote
 *          por hardware y activa flags para procesamiento en main loop
 * @param GPIO_Pin Pin que generó la interrupción
 *
 * @note Esta función implementa antirebote con delay no bloqueante
 */
void HAL_GPIO_EXTI_Callback(uint16_t GPIO_Pin)
{
  if (GPIO_Pin == LineSensor_Pin)
  {
    static GPIO_PinState ultima_lectura_valida_linea = GPIO_PIN_SET;
    GPIO_PinState lectura1, lectura2;

    lectura1 = HAL_GPIO_ReadPin(LineSensor_GPIO_Port, LineSensor_Pin);
    if (lectura1 != ultima_lectura_valida_linea)
    {
      // Micro-delay en lugar de HAL_Delay (no bloquea tanto)
      for (volatile int i = 0; i < 1000000; i++)
        ; // ~20ms aprox

      lectura2 = HAL_GPIO_ReadPin(LineSensor_GPIO_Port, LineSensor_Pin);
      if (lectura2 == lectura1)
      {
        ultima_lectura_valida_linea = lectura2;
        if (ultima_lectura_valida_linea == GPIO_PIN_RESET)
        {
          flag_linea_detectada = true;
        }
      }
    }
  }
}

/* USER CODE END 4 */

void Error_Handler(void)
{
  __disable_irq();
  while (1)
  {
  }
}
